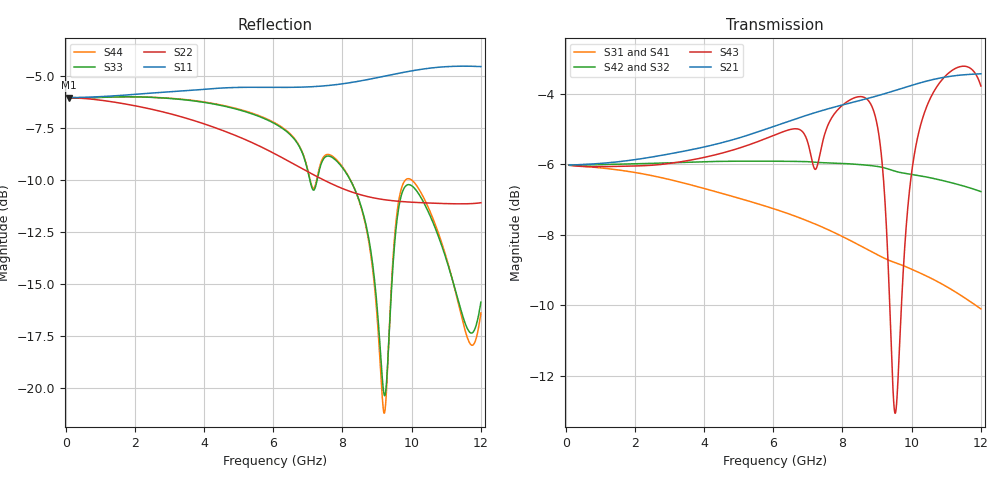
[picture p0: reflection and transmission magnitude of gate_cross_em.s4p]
! Gate cross EM block (Cros2 + TL9 + TL11 + Curve1 + Curve2 + TL12), Momentum 2026-10-16, fr4_1p52, TML ports, no flange
! Built-in geometry: IW0=3.0011 mm, IW1=2.61654 mm, IL0=0.998095 mm, TL9/TL11 2.5 mm, curves +-25 deg R=5 mm
! Ports: 1 = west (to TL3), 2 = RF_gate, 3 = end of Curve1 (to MLOC TL1), 4 = end of Curve2 (to MLOC TL10). 0 Hz row = ideal DC junction
# Hz S RI R 50
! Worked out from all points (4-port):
!   387 points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, 100 MHz to 12 GHz, reference 50 ohm
!   strongest paths, dB at 100 MHz, 6.174 GHz, 8.412 GHz, 9.686 GHz, 12 GHz:
!     S21: -6.0, -4.9, -4.2, -3.9, -3.4
!     S43: -6.0, -5.1, -4.1, -10.4, -3.8
!     S42: -6.0, -5.9, -6.0, -6.2, -6.8
!     S32: -6.0, -5.9, -6.1, -6.2, -6.8
!     S31: -6.0, -7.3, -8.3, -8.8, -10.1
!     S41: -6.0, -7.4, -8.3, -9.0, -10.1
!   lowest |S11| = -6.0 dB at 100 MHz (marker M1), VSWR 3.00, Z = 16.7 - j0.0729 ohm
!   |S11| at or under -10 dB: nowhere
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1e8  -0.5 -0.00164  0.5 -0.00672  0.4998 -0.00506  0.4998 -0.00519
     0.5 -0.00672  -0.4997 0.00862  0.4998 -0.0103  0.4998 -0.0102
     0.4998 -0.00506  0.4998 -0.0103  -0.4997 0.0183  0.4993 -0.0215
     0.4998 -0.00519  0.4998 -0.0102  0.4993 -0.0215  -0.4997 0.0183
3.791204e9  -0.5199 -0.0439  0.4516 -0.2732  0.4124 -0.2177  0.4089 -0.221
            0.4516 -0.2732  -0.3716 0.2317  0.3331 -0.3794  0.3355 -0.3779
            0.4124 -0.2177  0.3331 -0.3794  -0.1213 0.4745  -0.0437 -0.5084
            0.4089 -0.221  0.3355 -0.3779  -0.0437 -0.5084  -0.1198 0.476
6.638802e9  -0.5287 -0.0266  0.3301 -0.4785  0.2491 -0.3421  0.243 -0.3417
            0.3301 -0.4785  -0.2082 0.2742  -0.00501 -0.5038  -0.000199 -0.5061
            0.2491 -0.3421  -0.00501 -0.5038  0.3481 0.185  -0.5624 0.0285
            0.243 -0.3417  -0.000199 -0.5061  -0.5624 0.0285  0.3494 0.1863
8.77364e9  -0.5528 0.0269  0.181 -0.5956  0.0863 -0.3685  0.0832 -0.3656
           0.181 -0.5956  -0.1413 0.2511  -0.2868 -0.4027  -0.2865 -0.4093
           0.0863 -0.3685  -0.2868 -0.4027  0.0961 -0.2039  -0.0922 0.6081
           0.0832 -0.3656  -0.2865 -0.4093  -0.0922 0.6081  0.099 -0.1981
9.520833e9  -0.5673 0.0539  0.1235 -0.6259  0.0315 -0.3623  0.0263 -0.3591
            0.1235 -0.6259  -0.1293 0.2504  -0.3653 -0.3288  -0.364 -0.3283
            0.0315 -0.3623  -0.3653 -0.3288  0.1102 0.2012  0.0152 0.2218
            0.0263 -0.3591  -0.364 -0.3283  0.0152 0.2218  0.124 0.2038
1.067778e10  -0.5832 0.093  0.0186 -0.662  -0.059 -0.3382  -0.059 -0.3334
             0.0186 -0.662  -0.1085 0.2562  -0.4423 -0.1768  -0.4412 -0.1844
             -0.059 -0.3382  -0.4423 -0.1768  0.0953 -0.2234  0.2509 0.5891
             -0.059 -0.3334  -0.4412 -0.1844  0.2509 0.5891  0.1018 -0.226
1.2e10  -0.5829 0.1129  -0.1217 -0.6627  -0.151 -0.2738  -0.1512 -0.2725
        -0.1217 -0.6627  -0.0807 0.2671  -0.4547 0.000991  -0.4586 -0.000769
        -0.151 -0.2738  -0.4547 0.000991  -0.0964 0.1288  0.6472 0.0173
        -0.1512 -0.2725  -0.4586 -0.000769  0.6472 0.0173  -0.0857 0.1249
